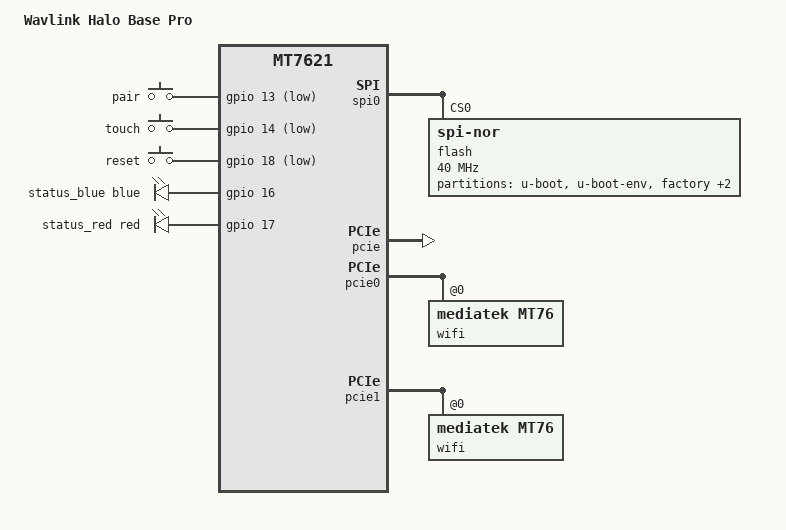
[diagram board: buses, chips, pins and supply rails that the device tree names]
// SPDX-License-Identifier: GPL-2.0-or-later OR MIT

#include "mt7621.dtsi"
#include <dt-bindings/gpio/gpio.h>
#include <dt-bindings/leds/common.h>
#include <dt-bindings/input/input.h>

/ {
	compatible = "wavlink,halo-base-pro", "mediatek,mt7621-soc";
	model = "Wavlink Halo Base Pro";

	chosen {
		bootargs = "console=ttyS0,57600n8";
	};

	aliases {
		led-boot = &status_blue;
		led-failsafe = &status_red;
		led-running = &status_blue;
		led-upgrade = &status_red;
		label-mac-device = &wifi;
	};

	keys {
		compatible = "gpio-keys";

		pair {
				label = "pair";
				gpios = <&gpio 13 GPIO_ACTIVE_LOW>;
				linux,code = <KEY_WPS_BUTTON>;
		};

		touch {
				label = "touch";
				gpios = <&gpio 14 GPIO_ACTIVE_LOW>;
				linux,code = <BTN_0>;
		};

		reset {
				label = "reset";
				gpios = <&gpio 18 GPIO_ACTIVE_LOW>;
				linux,code = <KEY_RESTART>;
		};
	};

	leds {
		compatible = "gpio-leds";

		status_blue: status_blue {
				color = <LED_COLOR_ID_BLUE>;
				function = LED_FUNCTION_STATUS;
				gpios = <&gpio 16 GPIO_ACTIVE_HIGH>;
		};

		status_red: status_red {
				color = <LED_COLOR_ID_RED>;
				function = LED_FUNCTION_STATUS;
				gpios = <&gpio 17 GPIO_ACTIVE_HIGH>;
		};
	};
};

&spi0 {
	status = "okay";

	flash@0 {
		compatible = "jedec,spi-nor";
		reg = <0>;
		spi-max-frequency = <40000000>;

		partitions {
			compatible = "fixed-partitions";
			#address-cells = <1>;
			#size-cells = <1>;

			partition@0 {
				label = "u-boot";
				reg = <0x0 0x30000>;
				read-only;
			};

			partition@30000 {
				label = "u-boot-env";
				reg = <0x30000 0x10000>;
				compatible = "u-boot,env";
				read-only;
			};

			partition@40000 {
				label = "factory";
				reg = <0x40000 0x10000>;
				read-only;

				nvmem-layout {
					compatible = "fixed-layout";
					#address-cells = <1>;
					#size-cells = <1>;

					eeprom_factory_0: eeprom@0 {
						reg = <0x0 0x400>;
					};

					eeprom_factory_8000: eeprom@8000 {
						reg = <0x8000 0x4da8>;
					};

					macaddr_factory_8004: macaddr@8004 {
						reg = <0x8004 0x6>;
					};

					macaddr_factory_e000: macaddr@e000 {
						reg = <0xe000 0x6>;
					};

					macaddr_factory_e006: macaddr@e006 {
						reg = <0xe006 0x6>;
					};
				};
			};

			partition@50000 {
				compatible = "denx,uimage";
				label = "firmware";
				reg = <0x50000 0xf30000>;
			};

			partition@f80000 {
				label = "vendor";
				reg = <0xf80000 0x80000>;
				read-only;
			};
		};
	};
};

&gmac0 {
	nvmem-cells = <&macaddr_factory_e000>;
	nvmem-cell-names = "mac-address";
};

&pcie {
	status = "okay";
};

&pcie0 {
	wifi@0,0 {
		compatible = "mediatek,mt76";
		reg = <0x0000 0 0 0 0>;
		nvmem-cells = <&eeprom_factory_0>;
		nvmem-cell-names = "eeprom";
		ieee80211-freq-limit = <2400000 2500000>;
	};
};

&pcie1 {
	wifi: wifi@0,0 {
		compatible = "mediatek,mt76";
		reg = <0x0000 0 0 0 0>;
		nvmem-cells = <&eeprom_factory_8000>, <&macaddr_factory_8004>;
		nvmem-cell-names = "eeprom", "mac-address";
		ieee80211-freq-limit = <5000000 6000000>;
	};
};

&switch0 {
	ports {
		port@0 {
			status = "okay";
			label = "lan1";
			nvmem-cells = <&macaddr_factory_e000>;
			nvmem-cell-names = "mac-address";
		};

		port@4 {
			status = "okay";
			label = "lan2";
			nvmem-cells = <&macaddr_factory_e006>;
			nvmem-cell-names = "mac-address";
		};
	};
};

&state_default {
	gpio {
		groups = "jtag", "wdt";
		function = "gpio";
	};
};
